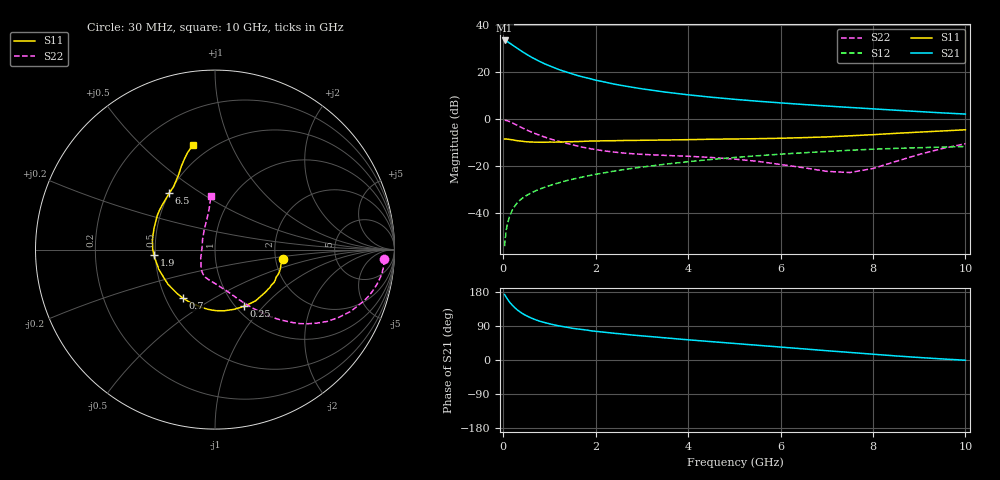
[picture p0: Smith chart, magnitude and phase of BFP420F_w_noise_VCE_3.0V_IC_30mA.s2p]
! Infineon Technologies  Discrete & RF Semiconductors
! BFP420F
! VCE =  3.0 V,  IC =  30 mA
! Common Emitter S-Parameters:  Sep 2011
# GHz  S  MA  R  50
!  f  S11  S21  S12  S22
! GHz  MAG  ANG  MAG  ANG  MAG  ANG  MAG  ANG
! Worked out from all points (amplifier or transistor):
!   54 points, 30 MHz to 10 GHz, reference 50 ohm
!   highest |S21| = 33.4 dB at 30 MHz (marker M1)
!   |S21| within 3 dB of that: start of sweep to 280 MHz
!   unconditionally stable (mu >= 1): 1.498 GHz to end of sweep
!   at 120 MHz: K = 0.33, MSG = 37.5 dB, |S12| = -42.5 dB
!   at 1.3 GHz: K = 0.95, MSG = 23.5 dB, |S12| = -26.5 dB
!   at 10 GHz: K = 1.22, MAG = 4.0 dB, |S12| = -11.6 dB
!   lowest NFmin = 1.81 dB at 450 MHz
!   S11 on the Smith chart (normalised r, x): 30 MHz: 2.19, -0.27; 250 MHz: 1.09, -0.79; 700 MHz: 0.61, -0.37; 1.9 GHz: 0.49, -0.03; 6.5 GHz: 0.50, +0.38; 10 GHz: 0.40, +0.73
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0.03  0.3801 -7.9  46.96 172.7  0.002 87.7  0.9442 -3.3
0.07  0.3798 -19.2  45.38 164.9  0.0046 83.8  0.9349 -9.3
0.08  0.3773 -22.0  44.61 162.8  0.0052 82.8  0.9294 -10.7
0.12  0.371 -32.6  42.59 155.5  0.0075 80.2  0.9012 -15.8
0.15  0.3679 -39.9  40.59 150.9  0.0092 78.1  0.8758 -19.2
0.2  0.3643 -51.7  37.63 144.2  0.0119 75.4  0.8317 -24.4
0.25  0.3553 -62.8  34.73 138.0  0.0142 73.0  0.7851 -28.8
0.35  0.3449 -81.3  29.86 128.1  0.0185 69.7  0.7001 -35.8
0.45  0.3354 -96.3  25.81 120.2  0.0222 67.7  0.6275 -41.1
0.6  0.3263 -114.4  20.99 111.1  0.0269 66.1  0.536 -47.0
0.7  0.3243 -123.6  18.65 106.2  0.03 65.5  0.4902 -50.1
0.9  0.3227 -137.9  14.93 98.7  0.0358 65.2  0.4151 -55.0
1.1  0.3249 -148.9  12.43 92.7  0.0415 65.0  0.3597 -59.4
1.7  0.3359 -169.6  7.995 80.6  0.0585 64.3  0.2556 -71.2
1.9  0.3425 -174.8  7.157 77.0  0.0644 63.8  0.2341 -75.2
2.6  0.3517 172.8  5.123 68.3  0.0843 61.4  0.1904 -89.2
3.5  0.3604 160.2  3.764 58.5  0.1103 57.1  0.1697 -103.3
5.5  0.3848 140.0  2.407 38.9  0.1668 45.2  0.1269 -127.6
6.5  0.4049 129.1  2.047 29.4  0.1931 38.5  0.0929 -149.0
7  0.4193 123.3  1.9 24.5  0.2055 35.2  0.0777 -166.5
8.5  0.4995 112.1  1.546 10.7  0.2393 24.3  0.1267 118.2
10  0.5946 102.1  1.281 -0.6  0.2621 15.0  0.3004 94.3
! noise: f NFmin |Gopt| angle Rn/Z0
0.45  1.81  0.29  -175  0.14
0.9  1.82  0.3  -173  0.14
1.9  1.95  0.35  -164  0.14
2.4  2.01  0.35  -158  0.12
3.5  2.25  0.35  -146  0.18
